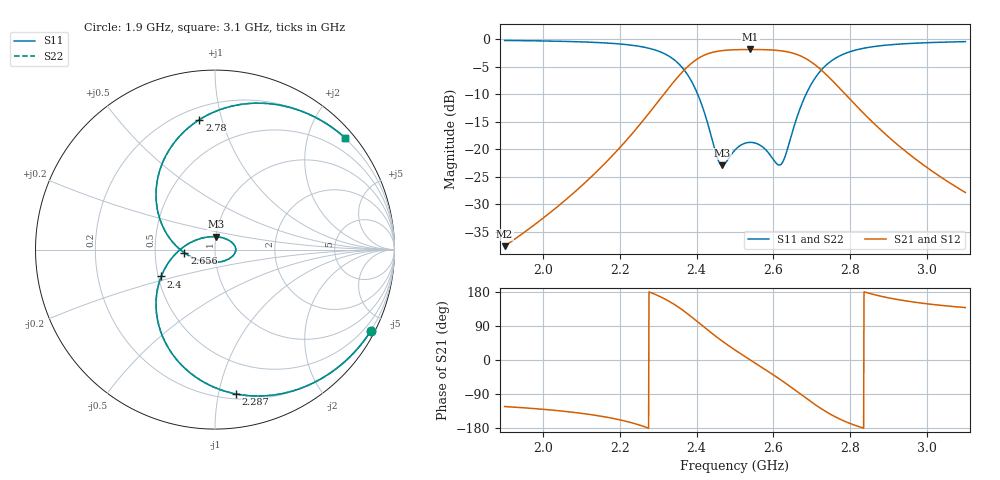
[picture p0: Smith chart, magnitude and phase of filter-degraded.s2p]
! SYNTHETIC: ideal lumped LC ladder; not VNA measurements
! degraded; center=2.540 GHz
! Frequency S11.re S11.im S21.re S21.im S12.re S12.im S22.re S22.im
# GHz S RI R 50
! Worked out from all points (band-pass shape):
!   1201 points, 1.9 GHz to 3.1 GHz, reference 50 ohm
!   highest |S21| = -1.82 dB at 2.54 GHz (marker M1); lowest = -37.6 dB at 1.9 GHz (marker M2)
!   |S21| within 3 dB of the highest: 2.379 GHz to 2.712 GHz (333.8 MHz wide, 13.1 % of centre)
!   lowest |S11| = -22.9 dB at 2.467 GHz (marker M3), VSWR 1.15, Z = 50.1 + j7.21 ohm
!   |S11| at or under -10 dB: 2.403 GHz to 2.685 GHz (281.7 MHz wide, 11.1 % of centre)
!   |S22| runs from -22.9 to -0.2 dB; largest |S21 - S12| = 0
!   S11 on the Smith chart (normalised r, x): 1.9 GHz: 0.18, -4.08; 2.287 GHz: 0.24, -1.12; 2.4 GHz: 0.52, -0.17; 2.656 GHz: 0.71, -0.03; 2.78 GHz: 0.27, +0.85; 3.1 GHz: 0.19, +2.68
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1.9  0.8692 -0.4519  -0.00712 -0.0111  -0.00712 -0.0111  0.8692 -0.4519
2.1  0.6979 -0.646  -0.0359 -0.0294  -0.0359 -0.0294  0.6979 -0.646
2.204  0.473 -0.7745  -0.1001 -0.0387  -0.1001 -0.0387  0.473 -0.7745
2.287  0.115 -0.8039  -0.2379 0.0195  -0.2379 0.0195  0.115 -0.8039
2.3  0.0394 -0.7838  -0.2684 0.0493  -0.2684 0.0493  0.0394 -0.7838
2.359  -0.2867 -0.4967  -0.3463 0.3457  -0.3463 0.3457  -0.2867 -0.4967
2.4  -0.2997 -0.1495  -0.148 0.6415  -0.148 0.6415  -0.2997 -0.1495
2.432  -0.155 0.0284  0.1724 0.7269  0.1724 0.7269  -0.155 0.0284
2.454  -0.0464 0.0694  0.3974 0.6716  0.3974 0.6716  -0.0464 0.0694
2.467  0.00571 0.0717  0.5127 0.6038  0.5127 0.6038  0.00571 0.0717
2.5  0.0879 0.0447  0.7225 0.3589  0.7225 0.3589  0.0879 0.0447
2.54  0.1158 0  0.8107 0  0.8107 0  0.1158 0
2.578  0.0917 -0.0419  0.7335 -0.3371  0.7335 -0.3371  0.0917 -0.0419
2.617  -0.000587 -0.072  0.4983 -0.614  0.4983 -0.614  -0.000587 -0.072
2.63  -0.0505 -0.0687  0.3886 -0.6755  0.3886 -0.6755  -0.0505 -0.0687
2.656  -0.1704 -0.0183  0.141 -0.7275  0.141 -0.7275  -0.1704 -0.0183
2.7  -0.3231 0.2352  -0.2279 -0.5752  -0.2279 -0.5752  -0.3231 0.2352
2.735  -0.2863 0.4974  -0.3464 -0.345  -0.3464 -0.345  -0.2863 0.4974
2.78  -0.0868 0.7239  -0.3157 -0.1201  -0.3157 -0.1201  -0.0868 0.7239
2.829  0.1509 0.8099  -0.2233 -0.00802  -0.2233 -0.00802  0.1509 0.8099
2.9  0.4034 0.7956  -0.1245 0.0358  -0.1245 0.0358  0.4034 0.7956
3.1  0.7239 0.6237  -0.0303 0.0269  -0.0303 0.0269  0.7239 0.6237
